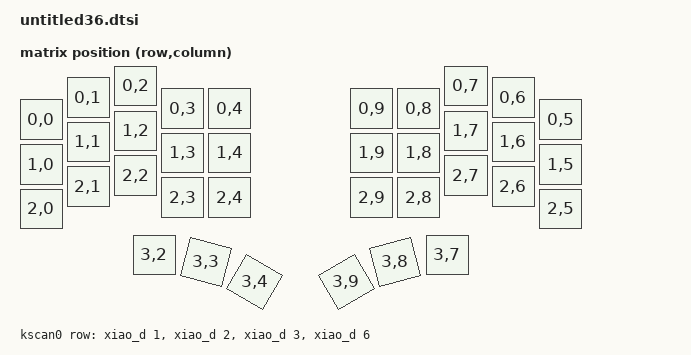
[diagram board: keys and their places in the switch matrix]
#include <dt-bindings/zmk/matrix_transform.h>
#include <physical_layouts.dtsi>

/ {
    chosen {
        zmk,physical-layout = &untitled36_physical_layout;
    };

    untitled36_physical_layout: untitled36_physical_layout {
        compatible = "zmk,physical-layout";
        display-name = "Default";
        transform = <&default_transform>;
        kscan = <&kscan0>;

        keys  //                     w   h    x    y    rot    rx    ry
            = <&key_physical_attrs 92 87     11    78      0    57   122>  /* C1R0   小指   R0 */
            , <&key_physical_attrs 92 87   105    34      0   151    78>  /* C2R0   薬指   R0 */
            , <&key_physical_attrs 92 87   200     11      0   246    55>  /* C3R0   中指   R0 */
            , <&key_physical_attrs 92 87   294    56      0   340   100>  /* C4R0   人差指 R0 */
            , <&key_physical_attrs 92 87   388    56      0   434   100>  /* C5R0   内側   R0 */
            , <&key_physical_attrs 92 87   672    56      0   718   100>  /* C5R0_R 内側   R0（右） */
            , <&key_physical_attrs 92 87   766    56      0   812   100>  /* C4R0_R 人差指 R0（右） */
            , <&key_physical_attrs 92 87   861     11      0   907    55>  /* C3R0_R 中指   R0（右） */
            , <&key_physical_attrs 92 87   955    34      0  1001    78>  /* C2R0_R 薬指   R0（右） */
            , <&key_physical_attrs 92 87  1050    78      0  1096   122>  /* C1R0_R 小指   R0（右） */

            , <&key_physical_attrs 92 87     11   168      0    57   212>  /* C1R1 */
            , <&key_physical_attrs 92 87   105   123      0   151   167>  /* C2R1 */
            , <&key_physical_attrs 92 87   200    101      0   246   145>  /* C3R1 */
            , <&key_physical_attrs 92 87   294   145      0   340   189>  /* C4R1 */
            , <&key_physical_attrs 92 87   388   145      0   434   189>  /* C5R1 */
            , <&key_physical_attrs 92 87   672   145      0   718   189>  /* C5R1_R */
            , <&key_physical_attrs 92 87   766   145      0   812   189>  /* C4R1_R */
            , <&key_physical_attrs 92 87   861    101      0   907   145>  /* C3R1_R */
            , <&key_physical_attrs 92 87   955   123      0  1001   167>  /* C2R1_R */
            , <&key_physical_attrs 92 87  1050   168      0  1096   212>  /* C1R1_R */

            , <&key_physical_attrs 92 87     11   257      0    57   301>  /* C1R2 */
            , <&key_physical_attrs 92 87   105   212      0   151   256>  /* C2R2 */
            , <&key_physical_attrs 92 87   200   190      0   246   234>  /* C3R2 */
            , <&key_physical_attrs 92 87   294   234      0   340   278>  /* C4R2 */
            , <&key_physical_attrs 92 87   388   234      0   434   278>  /* C5R2 */
            , <&key_physical_attrs 92 87   672   234      0   718   278>  /* C5R2_R */
            , <&key_physical_attrs 92 87   766   234      0   812   278>  /* C4R2_R */
            , <&key_physical_attrs 92 87   861   190      0   907   234>  /* C3R2_R */
            , <&key_physical_attrs 92 87   955   212      0  1001   256>  /* C2R2_R */
            , <&key_physical_attrs 92 87  1050   257      0  1096   301>  /* C1R2_R */

            , <&key_physical_attrs 92 87   237   349      0   283   393>  /* T_out   親指外側 */
            , <&key_physical_attrs 92 87   341   363   1500   387   407>  /* T_mid   親指中央 */
            , <&key_physical_attrs 92 87   438   403   3000   484   447>  /* T_in    親指内側 */
            , <&key_physical_attrs 92 87   622   403 (-3000)   668   447>  /* T_in_R  親指内側（右） */
            , <&key_physical_attrs 92 87   719   363 (-1500)   765   407>  /* T_mid_R 親指中央（右） */
            , <&key_physical_attrs 92 87   823   349      0   869   393>  /* T_out_R 親指外側（右） */
            ;
    };

    default_transform: keymap_transform_0 {
        compatible = "zmk,matrix-transform";
        columns = <10>;
        rows = <4>;
        map = <
            RC(0,0) RC(0,1) RC(0,2) RC(0,3) RC(0,4)    RC(0,9) RC(0,8) RC(0,7) RC(0,6) RC(0,5)
            RC(1,0) RC(1,1) RC(1,2) RC(1,3) RC(1,4)    RC(1,9) RC(1,8) RC(1,7) RC(1,6) RC(1,5)
            RC(2,0) RC(2,1) RC(2,2) RC(2,3) RC(2,4)    RC(2,9) RC(2,8) RC(2,7) RC(2,6) RC(2,5)
                            RC(3,2) RC(3,3) RC(3,4)    RC(3,9) RC(3,8) RC(3,7)
        >;
    };

    kscan0: kscan {
        compatible = "zmk,kscan-gpio-matrix";
        label = "KSCAN";
        diode-direction = "col2row";
        row-gpios
            = <&xiao_d 1 (GPIO_ACTIVE_HIGH | GPIO_PULL_DOWN)>   /* ROW0 = D1 = P0.03 */
            , <&xiao_d 2 (GPIO_ACTIVE_HIGH | GPIO_PULL_DOWN)>   /* ROW1 = D2 = P0.28 */
            , <&xiao_d 3 (GPIO_ACTIVE_HIGH | GPIO_PULL_DOWN)>   /* ROW2 = D3 = P0.29 */
            , <&xiao_d 6 (GPIO_ACTIVE_HIGH | GPIO_PULL_DOWN)>   /* ROW3 = D6 = P1.11（親指行） */
            ;
    };

    trackball_listener: trackball_listener {
        compatible = "zmk,input-listener";
        status = "disabled";
    };
};

// XIAO標準のUART・SPI・I2Cは、キーとトラックボールのピンとぶつかるので止める
&xiao_serial {
    status = "disabled";
};

&spi2 {
    status = "disabled";
};

&xiao_i2c {
    status = "disabled";
};

&spi0 {
    status = "disabled";

    trackball: trackball@0 {
        status = "disabled";
        reg = <0>;
    };
};
